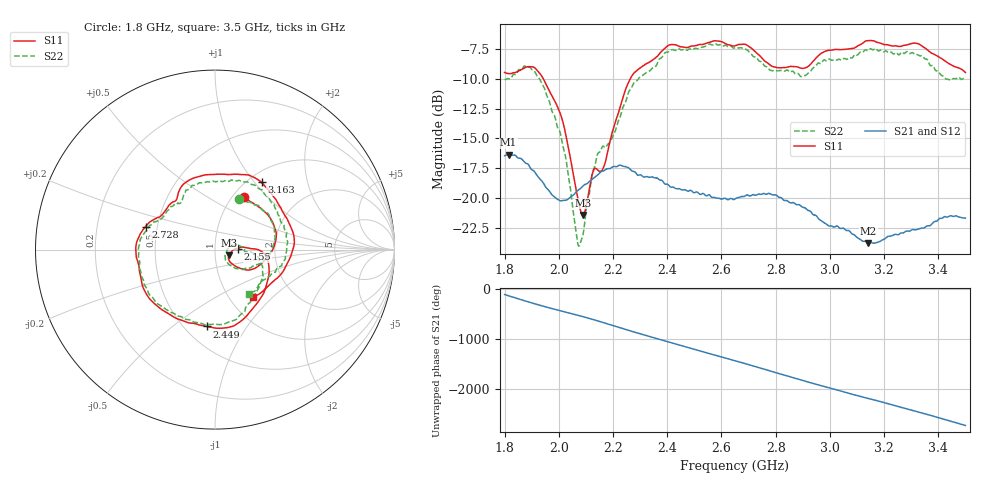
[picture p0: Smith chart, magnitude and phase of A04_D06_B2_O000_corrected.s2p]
! Created with skrf 1.9.0 (http://scikit-rf.org).
# Hz S RI R 50.0
!freq ReS11 ImS11 ReS21 ImS21 ReS12 ImS12 ReS22 ImS22
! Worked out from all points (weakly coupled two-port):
!   1601 points, 1.8 GHz to 3.5 GHz, reference 50 ohm
!   highest |S21| = -16.38 dB at 1.815 GHz (marker M1); lowest = -23.8 dB at 3.142 GHz (marker M2)
!   lowest |S11| = -21.4 dB at 2.089 GHz (marker M3), VSWR 1.19, Z = 58.4 - j3.81 ohm
!   |S11| at or under -10 dB: 1.943 GHz to 2.264 GHz (320.8 MHz wide, 15.3 % of centre)
!   |S22| runs from -24.1 to -7.1 dB; largest |S21 - S12| = 0.0025
!   S11 on the Smith chart (normalised r, x): 1.8 GHz: 1.12, +0.75; 2.155 GHz: 1.30, +0.01; 2.449 GHz: 0.64, -0.67; 2.728 GHz: 0.43, +0.13; 3.163 GHz: 1.15, +1.09; 3.5 GHz: 1.28, -0.76
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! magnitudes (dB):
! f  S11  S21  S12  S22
! 1.8 GHz  -9.5  -16.5  -16.5  -10.0
! 1.815 GHz  -9.6  -16.4  -16.4  -10.0
! 1.888 GHz  -9.0  -17.2  -17.3  -9.0
! 1.942 GHz  -10.0  -18.7  -18.7  -10.6
! 2.013 GHz  -13.4  -20.2  -20.2  -15.4
! 2.067 GHz  -19.6  -19.4  -19.4  -23.4
! 2.084 GHz  -21.3  -19.1  -19.1  -23.5
! 2.089 GHz  -21.4  -19.0  -19.0  -23.1
! 2.127 GHz  -17.7  -18.4  -18.4  -17.7
! 2.155 GHz  -17.8  -17.8  -17.8  -16.0
! 2.261 GHz  -10.1  -17.6  -17.6  -11.0
! 2.367 GHz  -8.0  -18.4  -18.4  -8.5
! 2.449 GHz  -7.3  -19.3  -19.3  -7.6
! 2.65 GHz  -7.2  -20.1  -20.1  -7.4
! 2.728 GHz  -7.8  -19.8  -19.8  -8.2
! 2.803 GHz  -9.1  -19.8  -19.8  -9.3
! 2.934 GHz  -8.7  -21.3  -21.3  -9.2
! 3.142 GHz  -6.8  -23.8  -23.7  -7.6
! 3.163 GHz  -6.8  -23.8  -23.8  -7.5
! 3.217 GHz  -7.2  -23.2  -23.2  -7.8
! 3.325 GHz  -7.1  -22.6  -22.6  -8.0
! 3.5 GHz  -9.5  -21.7  -21.7  -10.1
